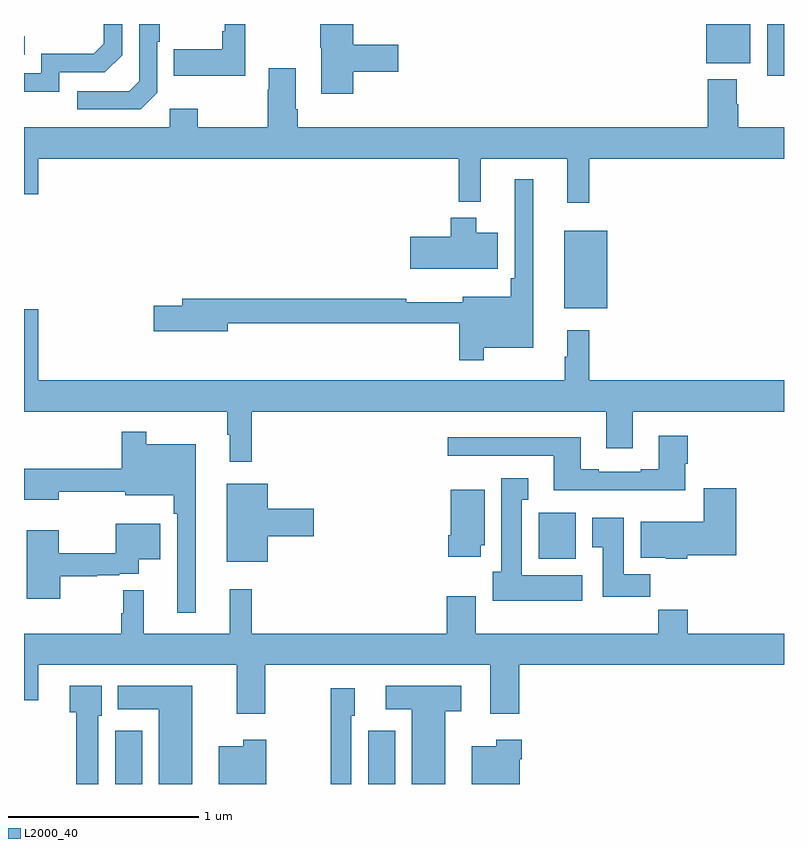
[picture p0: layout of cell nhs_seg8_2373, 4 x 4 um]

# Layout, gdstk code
import gdstk
lib = gdstk.Library(unit=1e-6, precision=1e-09)
def R(c, l, rs):  # rectangles x0, y0, x1, y1
    for r in rs: c.add(gdstk.rectangle(r[:2], r[2:], *l))
def P(c, l, *ps):  # polygons
    for p in ps: c.add(gdstk.Polygon(p, *l))
L2000_40 = (2000, 40)

nhs_seg8_2373 = lib.new_cell('nhs_seg8_2373')
R(nhs_seg8_2373, L2000_40, [(261.479,1087.9,261.622,1088.179), (262.811,1087.9,262.954,1088.179), (263.708,1089.086,263.905,1089.328), (263.843,1090.403,264.07,1090.813), (264.911,1091.628,265,1091.9), (264.59,1091.693,264.823,1091.9), (261,1091.739,261.005,1091.835)])
P(nhs_seg8_2373, L2000_40, [(261.702,1091.538),(261.702,1091.807),(261.715,1091.807),(261.715,1091.9),(261.606,1091.9),(261.606,1091.598),(261.555,1091.547),(261.279,1091.547),(261.279,1091.451),(261.615,1091.451)],
  [(261.186,1091.646),(261.426,1091.646),(261.516,1091.736),(261.516,1091.9),(261.42,1091.9),(261.42,1091.796),(261.367,1091.743),(261.09,1091.743),(261.09,1091.64),(261,1091.64),(261,1091.544),(261.186,1091.544)],
  [(262.165,1091.9),(262.056,1091.9),(262.056,1091.863),(262.044,1091.863),(262.044,1091.767),(261.787,1091.767),(261.787,1091.627),(262.165,1091.627)],
  [(262.733,1091.65),(262.969,1091.65),(262.969,1091.792),(262.733,1091.792),(262.733,1091.9),(262.558,1091.9),(262.558,1091.775),(262.565,1091.775),(262.565,1091.532),(262.733,1091.532)],
  [(262.429,1091.452),(262.429,1091.668),(262.289,1091.668),(262.289,1091.555),(262.282,1091.555),(262.282,1091.356),(261.915,1091.356),(261.915,1091.455),(261.768,1091.455),(261.768,1091.356),(261,1091.356),(261,1091.004),(261.076,1091.004),(261.076,1091.192),(263.287,1091.192),(263.287,1090.964),(263.405,1090.964),(263.405,1091.192),(263.858,1091.192),(263.858,1090.959),(263.975,1090.959),(263.975,1091.192),(265,1091.192),(265,1091.356),(264.759,1091.356),(264.759,1091.477),(264.751,1091.477),(264.751,1091.608),(264.599,1091.608),(264.599,1091.356),(262.442,1091.356),(262.442,1091.452)],
  [(263.419,1090.196),(263.68,1090.196),(263.68,1091.083),(263.583,1091.083),(263.583,1090.561),(263.563,1090.561),(263.563,1090.465),(263.309,1090.465),(263.309,1090.435),(263.013,1090.435),(263.013,1090.454),(261.833,1090.454),(261.833,1090.418),(261.684,1090.418),(261.684,1090.283),(262.072,1090.283),(262.072,1090.326),(263.29,1090.326),(263.29,1090.131),(263.419,1090.131)],
  [(263.494,1090.801),(263.38,1090.801),(263.38,1090.879),(263.246,1090.879),(263.246,1090.779),(263.034,1090.779),(263.034,1090.613),(263.494,1090.613)],
  [(262.199,1089.86),(264.065,1089.86),(264.065,1089.666),(264.205,1089.666),(264.205,1089.86),(265,1089.86),(265,1090.024),(263.975,1090.024),(263.975,1090.288),(263.858,1090.288),(263.858,1090.148),(263.847,1090.148),(263.847,1090.024),(261.076,1090.024),(261.076,1090.399),(261,1090.399),(261,1089.86),(262.071,1089.86),(262.071,1089.737),(262.082,1089.737),(262.082,1089.597),(262.199,1089.597)],
  [(261.904,1089.688),(261.643,1089.688),(261.643,1089.754),(261.514,1089.754),(261.514,1089.559),(261,1089.559),(261,1089.395),(261.184,1089.395),(261.184,1089.438),(261.533,1089.438),(261.533,1089.419),(261.787,1089.419),(261.787,1089.323),(261.807,1089.323),(261.807,1088.802),(261.904,1088.802)],
  [(264.481,1089.585),(264.494,1089.585),(264.494,1089.733),(264.341,1089.733),(264.341,1089.556),(264.245,1089.556),(264.245,1089.543),(264.025,1089.543),(264.025,1089.556),(263.929,1089.556),(263.929,1089.724),(263.229,1089.724),(263.229,1089.627),(263.789,1089.627),(263.789,1089.446),(264.481,1089.446)],
  [(263.938,1088.998),(263.62,1088.998),(263.62,1089.395),(263.653,1089.395),(263.653,1089.508),(263.513,1089.508),(263.513,1089.018),(263.468,1089.018),(263.468,1088.864),(263.938,1088.864)],
  [(262.282,1089.203),(262.525,1089.203),(262.525,1089.35),(262.282,1089.35),(262.282,1089.481),(262.067,1089.481),(262.067,1089.071),(262.282,1089.071)],
  [(264.492,1089.104),(264.749,1089.104),(264.749,1089.457),(264.578,1089.457),(264.578,1089.28),(264.245,1089.28),(264.245,1089.092),(264.378,1089.092),(264.378,1089.086),(264.492,1089.086)],
  [(263.404,1089.156),(263.425,1089.156),(263.425,1089.448),(263.246,1089.448),(263.246,1089.208),(263.234,1089.208),(263.234,1089.096),(263.404,1089.096)],
  [(264.296,1089.004),(264.157,1089.004),(264.157,1089.301),(263.99,1089.301),(263.99,1089.145),(264.047,1089.145),(264.047,1088.886),(264.296,1088.886)],
  [(261.192,1088.994),(261.386,1088.994),(261.386,1088.999),(261.5,1088.999),(261.5,1089.006),(261.604,1089.006),(261.604,1089.083),(261.718,1089.083),(261.718,1089.271),(261.482,1089.271),(261.482,1089.115),(261.184,1089.115),(261.184,1089.235),(261.014,1089.235),(261.014,1088.874),(261.192,1088.874)],
  [(262.269,1088.528),(263.453,1088.528),(263.453,1088.271),(263.606,1088.271),(263.606,1088.528),(265,1088.528),(265,1088.692),(264.494,1088.692),(264.494,1088.816),(264.337,1088.816),(264.337,1088.692),(263.377,1088.692),(263.377,1088.887),(263.225,1088.887),(263.225,1088.692),(262.199,1088.692),(262.199,1088.926),(262.082,1088.926),(262.082,1088.692),(261.629,1088.692),(261.629,1088.921),(261.523,1088.921),(261.523,1088.799),(261.511,1088.799),(261.511,1088.692),(261,1088.692),(261,1088.34),(261.076,1088.34),(261.076,1088.528),(262.121,1088.528),(262.121,1088.271),(262.269,1088.271)],
  [(261.886,1088.416),(261.494,1088.416),(261.494,1088.294),(261.71,1088.294),(261.71,1087.9),(261.886,1087.9)],
  [(261.39,1088.259),(261.409,1088.259),(261.409,1088.416),(261.24,1088.416),(261.24,1088.278),(261.274,1088.278),(261.274,1087.9),(261.39,1087.9)],
  [(263.218,1088.282),(263.302,1088.282),(263.302,1088.416),(262.905,1088.416),(262.905,1088.294),(263.042,1088.294),(263.042,1087.9),(263.218,1087.9)],
  [(262.722,1088.259),(262.741,1088.259),(262.741,1088.404),(262.614,1088.404),(262.614,1087.9),(262.722,1087.9)],
  [(262.276,1088.134),(262.154,1088.134),(262.154,1088.098),(262.025,1088.098),(262.025,1087.9),(262.276,1087.9)],
  [(263.608,1088.03),(263.621,1088.03),(263.621,1088.134),(263.486,1088.134),(263.486,1088.098),(263.357,1088.098),(263.357,1087.9),(263.608,1087.9)])

lib.write_gds('nhs_seg8_2373.gds')
